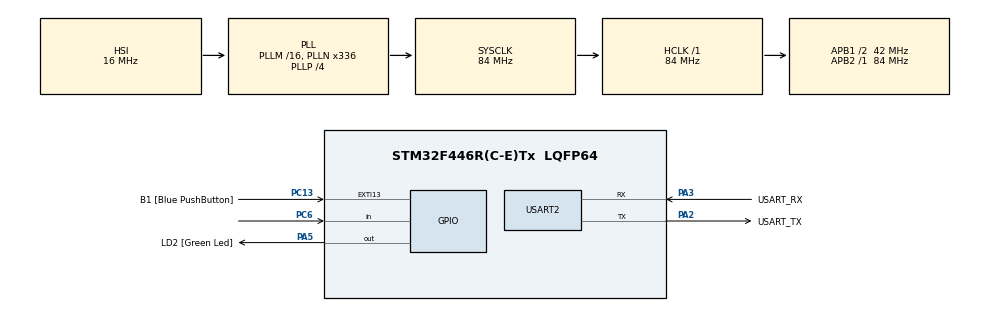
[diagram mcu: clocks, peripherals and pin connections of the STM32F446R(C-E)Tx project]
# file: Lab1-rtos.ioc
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FREERTOS.Tasks01=blink01,0,128,StartBlink01,Default,NULL,Dynamic,NULL,NULL;blink02,-1,128,StartBlink02,Default,NULL,Dynamic,NULL,NULL;GPIO_state,-3,128,GPIO_state_check,Default,NULL,Dynamic,NULL,NULL
FREERTOS.configUSE_NEWLIB_REENTRANT=1
Mcu.Family=STM32F4
Mcu.Name=STM32F446R(C-E)Tx
Mcu.Package=LQFP64
NVIC.EXTI15_10_IRQn=true\:5\:0\:false\:false\:true\:true\:true\:true\:true
NVIC.PriorityGroup=NVIC_PRIORITYGROUP_4
NVIC.TIM1_UP_TIM10_IRQn=true\:15\:0\:false\:false\:true\:false\:false\:true\:true
NVIC.TimeBase=TIM1_UP_TIM10_IRQn
NVIC.TimeBaseIP=TIM1
PA13.GPIO_Label=TMS
PA13.Mode=Serial_Wire
PA13.Signal=SYS_JTMS-SWDIO
PA14.GPIO_Label=TCK
PA14.Mode=Serial_Wire
PA14.Signal=SYS_JTCK-SWCLK
PA2.GPIO_Label=USART_TX
PA2.Mode=Asynchronous
PA2.Signal=USART2_TX
PA3.GPIO_Label=USART_RX
PA3.Mode=Asynchronous
PA3.Signal=USART2_RX
PA5.GPIO_Label=LD2 [Green Led]
PA5.Signal=GPIO_Output
PB3.GPIO_Label=SWO
PB3.Signal=SYS_JTDO-SWO
PC13.GPIO_Label=B1 [Blue PushButton]
PC13.GPIO_ModeDefaultEXTI=GPIO_MODE_IT_FALLING
PC13.Signal=GPXTI13
PC14-OSC32_IN.Mode=LSE-External-Oscillator
PC14-OSC32_IN.Signal=RCC_OSC32_IN
PC15-OSC32_OUT.Mode=LSE-External-Oscillator
PC15-OSC32_OUT.Signal=RCC_OSC32_OUT
PC6.Signal=GPIO_Input
PH0-OSC_IN.Mode=HSE-External-Oscillator
PH0-OSC_IN.Signal=RCC_OSC_IN
PH1-OSC_OUT.Mode=HSE-External-Oscillator
PH1-OSC_OUT.Signal=RCC_OSC_OUT
ProjectManager.HeapSize=0x200
ProjectManager.StackSize=0x400
ProjectManager.TargetToolchain=STM32CubeIDE
RCC.48MHZClocksFreq_Value=84000000
RCC.AHBFreq_Value=84000000
RCC.APB1CLKDivider=RCC_HCLK_DIV2
RCC.APB1Freq_Value=42000000
RCC.APB1TimFreq_Value=84000000
RCC.APB2Freq_Value=84000000
RCC.APB2TimFreq_Value=84000000
RCC.CortexFreq_Value=84000000
RCC.FLatency-AdvancedSettings=FLASH_LATENCY_2
RCC.HCLKFreq_Value=84000000
RCC.HSE_VALUE=8000000
RCC.HSI_VALUE=16000000
RCC.PLLN=336
RCC.PLLP=RCC_PLLP_DIV4
RCC.SYSCLKFreq_VALUE=84000000
RCC.SYSCLKSource=RCC_SYSCLKSOURCE_PLLCLK
RCC.USBFreq_Value=168000000
RCC.VCOOutputFreq_Value=336000000
USART2.VirtualMode=VM_ASYNC
VP_FREERTOS_VS_CMSIS_V1.Mode=CMSIS_V1
VP_SYS_VS_tim1.Mode=TIM1
board=NUCLEO-F446RE

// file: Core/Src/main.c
/* USER CODE BEGIN Header */
/**
  ******************************************************************************
  * @file           : main.c
  * @brief          : Main program body
  ******************************************************************************
  * @attention
  *
  * Copyright (c) 2023 STMicroelectronics.
  * All rights reserved.
  *
  * This software is licensed under terms that can be found in the LICENSE file
  * in the root directory of this software component.
  * If no LICENSE file comes with this software, it is provided AS-IS.
  *
  ******************************************************************************
  */
/* USER CODE END Header */
#include "main.h"
#include "cmsis_os.h"

/* USER CODE BEGIN Includes */

//Initialization of global varaibles neede for code to work.
//Default blinking frequency
uint16_t blink_freq = 10;
//default period of time - later automatically calculated basing on freq
uint16_t period = 50;
//varaible of button state, changed to tru only by IRQ
uint8_t button_pressed = 0;
/* USER CODE END Includes */

UART_HandleTypeDef huart2;

osThreadId blink01Handle;
osThreadId blink02Handle;
osThreadId GPIO_stateHandle;

void SystemClock_Config(void);
static void MX_GPIO_Init(void);
static void MX_USART2_UART_Init(void);
void StartBlink01(void const * argument);
void StartBlink02(void const * argument);
void GPIO_state_check(void const * argument);

int main(void)
{

  /* MCU Configuration--------------------------------------------------------*/

  /* Reset of all peripherals, Initializes the Flash interface and the Systick. */
  HAL_Init();

  /* Configure the system clock */
  SystemClock_Config();

  /* Initialize all configured peripherals */
  MX_GPIO_Init();
  MX_USART2_UART_Init();

  /* Create the thread(s) */
  /* definition and creation of blink01 */
  osThreadDef(blink01, StartBlink01, osPriorityNormal, 0, 128);
  blink01Handle = osThreadCreate(osThread(blink01), NULL);

  /* definition and creation of blink02 */
  osThreadDef(blink02, StartBlink02, osPriorityBelowNormal, 0, 128);
  blink02Handle = osThreadCreate(osThread(blink02), NULL);

  /* definition and creation of GPIO_state */
  osThreadDef(GPIO_state, GPIO_state_check, osPriorityIdle, 0, 128);
  GPIO_stateHandle = osThreadCreate(osThread(GPIO_state), NULL);

  /* Start scheduler */
  osKernelStart();

  /* We should never get here as control is now taken by the scheduler */
  /* Infinite loop */
  while (1)
  {

  }
}

void SystemClock_Config(void)
{
  RCC_OscInitTypeDef RCC_OscInitStruct = {0};
  RCC_ClkInitTypeDef RCC_ClkInitStruct = {0};

  /** Configure the main internal regulator output voltage
  */
  __HAL_RCC_PWR_CLK_ENABLE();
  __HAL_PWR_VOLTAGESCALING_CONFIG(PWR_REGULATOR_VOLTAGE_SCALE3);

  /** Initializes the RCC Oscillators according to the specified parameters
  * in the RCC_OscInitTypeDef structure.
  */
  RCC_OscInitStruct.OscillatorType = RCC_OSCILLATORTYPE_HSI;
  RCC_OscInitStruct.HSIState = RCC_HSI_ON;
  RCC_OscInitStruct.HSICalibrationValue = RCC_HSICALIBRATION_DEFAULT;
  RCC_OscInitStruct.PLL.PLLState = RCC_PLL_ON;
  RCC_OscInitStruct.PLL.PLLSource = RCC_PLLSOURCE_HSI;
  RCC_OscInitStruct.PLL.PLLM = 16;
  RCC_OscInitStruct.PLL.PLLN = 336;
  RCC_OscInitStruct.PLL.PLLP = RCC_PLLP_DIV4;
  RCC_OscInitStruct.PLL.PLLQ = 2;
  RCC_OscInitStruct.PLL.PLLR = 2;
  if (HAL_RCC_OscConfig(&RCC_OscInitStruct) != HAL_OK)
  {
    Error_Handler();
  }

  /** Initializes the CPU, AHB and APB buses clocks
  */
  RCC_ClkInitStruct.ClockType = RCC_CLOCKTYPE_HCLK|RCC_CLOCKTYPE_SYSCLK
                              |RCC_CLOCKTYPE_PCLK1|RCC_CLOCKTYPE_PCLK2;
  RCC_ClkInitStruct.SYSCLKSource = RCC_SYSCLKSOURCE_PLLCLK;
  RCC_ClkInitStruct.AHBCLKDivider = RCC_SYSCLK_DIV1;
  RCC_ClkInitStruct.APB1CLKDivider = RCC_HCLK_DIV2;
  RCC_ClkInitStruct.APB2CLKDivider = RCC_HCLK_DIV1;

  if (HAL_RCC_ClockConfig(&RCC_ClkInitStruct, FLASH_LATENCY_2) != HAL_OK)
  {
    Error_Handler();
  }
}

static void MX_USART2_UART_Init(void)
{

  huart2.Instance = USART2;
  huart2.Init.BaudRate = 115200;
  huart2.Init.WordLength = UART_WORDLENGTH_8B;
  huart2.Init.StopBits = UART_STOPBITS_1;
  huart2.Init.Parity = UART_PARITY_NONE;
  huart2.Init.Mode = UART_MODE_TX_RX;
  huart2.Init.HwFlowCtl = UART_HWCONTROL_NONE;
  huart2.Init.OverSampling = UART_OVERSAMPLING_16;
  if (HAL_UART_Init(&huart2) != HAL_OK)
  {
    Error_Handler();
  }

}

static void MX_GPIO_Init(void)
{
  GPIO_InitTypeDef GPIO_InitStruct = {0};

  /* GPIO Ports Clock Enable */
  __HAL_RCC_GPIOC_CLK_ENABLE();
  __HAL_RCC_GPIOH_CLK_ENABLE();
  __HAL_RCC_GPIOA_CLK_ENABLE();
  __HAL_RCC_GPIOB_CLK_ENABLE();

  /*Configure GPIO pin Output Level */
  HAL_GPIO_WritePin(LD2_GPIO_Port, LD2_Pin, GPIO_PIN_RESET);

  /*Configure GPIO pin : B1_Pin */
  GPIO_InitStruct.Pin = B1_Pin;
  GPIO_InitStruct.Mode = GPIO_MODE_IT_FALLING;
  GPIO_InitStruct.Pull = GPIO_NOPULL;
  HAL_GPIO_Init(B1_GPIO_Port, &GPIO_InitStruct);

  /*Configure GPIO pin : LD2_Pin */
  GPIO_InitStruct.Pin = LD2_Pin;
  GPIO_InitStruct.Mode = GPIO_MODE_OUTPUT_PP;
  GPIO_InitStruct.Pull = GPIO_NOPULL;
  GPIO_InitStruct.Speed = GPIO_SPEED_FREQ_LOW;
  HAL_GPIO_Init(LD2_GPIO_Port, &GPIO_InitStruct);

  /*Configure GPIO pin : PC6 */
  GPIO_InitStruct.Pin = GPIO_PIN_6;
  GPIO_InitStruct.Mode = GPIO_MODE_INPUT;
  GPIO_InitStruct.Pull = GPIO_PULLUP;
  HAL_GPIO_Init(GPIOC, &GPIO_InitStruct);

  /* EXTI interrupt init*/
  HAL_NVIC_SetPriority(EXTI15_10_IRQn, 5, 0);
  HAL_NVIC_EnableIRQ(EXTI15_10_IRQn);

}

/* USER CODE BEGIN 4 */
void HAL_GPIO_EXTI_Callback(uint16_t GPIO_Pin)
{
	//if callback was called by gpio pin corresponding to button varaible state will change
  if(GPIO_Pin == B1_Pin) {
	  button_pressed = 1;

  }
}
/* USER CODE END 4 */

void StartBlink01(void const * argument)
{
  /* USER CODE BEGIN 5 */
  /* Infinite loop */
  for(;;)
  {
	  // calculate period in loop to adjust when varaible blink_freq is changed.
	  period = 1000/(blink_freq*2);
	  //toggle LED
	  HAL_GPIO_TogglePin(LD2_GPIO_Port, LD2_Pin);
	  // delay for rtos - when to call function next time. It does not block running of uC.
	  osDelay(period);
  }
  osThreadTerminate(NULL);
  /* USER CODE END 5 */
}

void StartBlink02(void const * argument)
{
  /* USER CODE BEGIN StartBlink02 */
  /* Infinite loop */
  for(;;)
  {
	  //HAL_GPIO_TogglePin(LD2_GPIO_Port, LD2_Pin);
// if default freq and button pressed we change frequency
	  if(button_pressed && blink_freq == 10)
	 		  blink_freq = 20;
	 	  else if( button_pressed)
	 	//if button pressed but value was different than default we change to default.
	 		  blink_freq= 10;
//reset button state
	  button_pressed = 0;
	  //run once per second.
		  osDelay(1000);
  }
  osThreadTerminate(NULL);
  /* USER CODE END StartBlink02 */
}

void GPIO_state_check(void const * argument)
{
  /* USER CODE BEGIN GPIO_state_check */
  /* Infinite loop */
  for(;;)
  {
	  //check for inverted state of gpio ( so low state goes into)
	  if(!HAL_GPIO_ReadPin (GPIOC, GPIO_PIN_6))
	        {
	            // Set The LED OFF!
	            HAL_GPIO_WritePin(LD2_GPIO_Port,LD2_Pin, GPIO_PIN_RESET);
	        }
    osDelay(100);
  }
  /* USER CODE END GPIO_state_check */
}

void HAL_TIM_PeriodElapsedCallback(TIM_HandleTypeDef *htim)
{
  if (htim->Instance == TIM1) {
    HAL_IncTick();
  }
}

void Error_Handler(void)
{
  __disable_irq();
  while (1)
  {
  }
}
